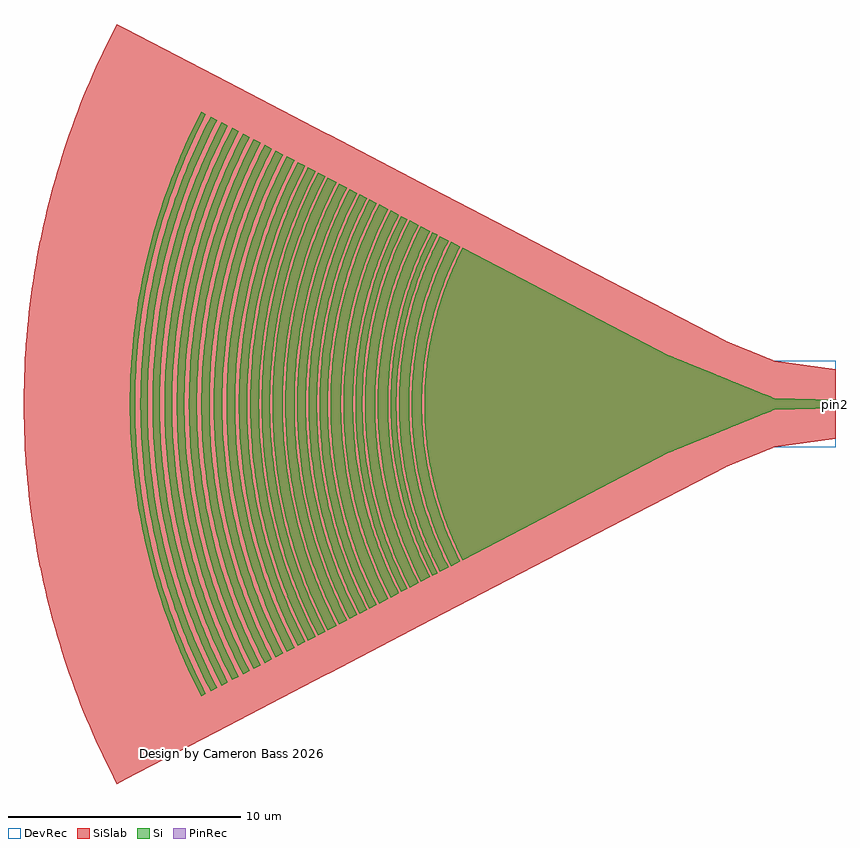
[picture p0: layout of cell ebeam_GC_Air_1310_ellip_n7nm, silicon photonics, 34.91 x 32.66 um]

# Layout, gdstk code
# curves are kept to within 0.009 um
import gdstk
lib = gdstk.Library(unit=1e-6, precision=1e-09)
def P(c, l, *ps):  # polygons
    for p in ps: c.add(gdstk.Polygon(p, *l))
Si = (1, 0)
PinRec = (1, 10)
SiSlab = (2, 0)
DevRec = (68, 0)

ebeam_gc_air_1310_ellip_ = lib.new_cell('ebeam_GC_Air_1310_ellip_n7nm')
P(ebeam_gc_air_1310_ellip_, Si, [(-16.045,-6.707),(-16.404,-5.966),(-16.777,-5.051),(-17.006,-4.382),(-17.271,-3.429),(-17.447,-2.6),(-17.574,-1.762),(-17.652,-0.918),(-17.68,-0.071),(-17.652,0.918),(-17.574,1.762),(-17.447,2.601),(-17.271,3.429),(-17.006,4.382),(-16.777,5.051),(-16.404,5.966),(-16.045,6.707),(-7.154,2.077),(-3.28,0.495),(-2.88,0.344),(-2.695,0.255),(-2.65,0.243),(0,0.175),(0,-0.175),(-2.679,-0.25),(-2.849,-0.331),(-3.188,-0.457),(-7.08,-2.044)],
  [(-16.537,-6.962),(-16.907,-6.196),(-17.243,-5.382),(-17.532,-4.551),(-17.772,-3.704),(-17.963,-2.845),(-18.103,-1.975),(-18.202,-0.954),(-18.232,-0.073),(-18.211,0.807),(-18.121,1.83),(-17.99,2.701),(-17.807,3.561),(-17.575,4.411),(-17.294,5.246),(-17.137,5.656),(-16.907,6.196),(-16.537,6.963),(-16.146,6.759),(-16.507,6.013),(-16.835,5.224),(-17.115,4.417),(-17.348,3.595),(-17.559,2.621),(-17.687,1.776),(-17.774,0.783),(-17.794,0.071),(-17.774,-0.783),(-17.687,-1.776),(-17.559,-2.62),(-17.382,-3.457),(-17.115,-4.417),(-16.835,-5.224),(-16.507,-6.013),(-16.146,-6.759)],
  [(-17.018,-7.213),(-17.401,-6.42),(-17.749,-5.577),(-18.048,-4.716),(-18.297,-3.838),(-18.494,-2.948),(-18.639,-2.047),(-18.732,-1.139),(-18.759,-0.684),(-18.773,-0.076),(-18.751,0.836),(-18.676,1.745),(-18.619,2.198),(-18.522,2.798),(-18.333,3.69),(-18.179,4.279),(-18.048,4.716),(-17.749,5.577),(-17.401,6.42),(-17.018,7.213),(-16.637,7.015),(-17.01,6.243),(-17.35,5.424),(-17.641,4.586),(-17.919,3.589),(-18.102,2.721),(-18.235,1.844),(-18.316,0.96),(-18.346,0.074),(-18.325,-0.812),(-18.235,-1.844),(-18.102,-2.721),(-17.919,-3.589),(-17.685,-4.444),(-17.402,-5.285),(-17.07,-6.108),(-16.637,-7.015)],
  [(-17.338,-7.38),(-17.793,-6.426),(-18.141,-5.561),(-18.392,-4.825),(-18.647,-3.927),(-18.849,-3.016),(-18.93,-2.556),(-19.017,-1.94),(-19.103,-1.011),(-19.134,-0.078),(-19.112,0.856),(-19.017,1.94),(-18.877,2.863),(-18.684,3.776),(-18.438,4.676),(-18.141,5.561),(-17.974,5.996),(-17.73,6.569),(-17.338,7.38),(-17.119,7.265),(-17.566,6.327),(-17.801,5.762),(-17.962,5.331),(-18.111,4.896),(-18.289,4.31),(-18.514,3.42),(-18.686,2.517),(-18.806,1.606),(-18.865,0.842),(-18.887,0.077),(-18.865,-0.842),(-18.806,-1.606),(-18.71,-2.365),(-18.546,-3.269),(-18.408,-3.866),(-18.289,-4.31),(-18.111,-4.896),(-17.962,-5.33),(-17.801,-5.761),(-17.566,-6.327),(-17.119,-7.265)],
  [(-17.834,-7.638),(-18.304,-6.651),(-18.664,-5.756),(-18.972,-4.84),(-19.226,-3.908),(-19.426,-2.963),(-19.57,-2.008),(-19.659,-1.046),(-19.692,-0.08),(-19.668,0.886),(-19.589,1.848),(-19.454,2.805),(-19.333,3.438),(-19.226,3.908),(-18.972,4.84),(-18.664,5.756),(-18.491,6.206),(-18.239,6.799),(-17.834,7.638),(-17.439,7.432),(-17.833,6.616),(-18.193,5.748),(-18.502,4.859),(-18.758,3.956),(-18.99,2.883),(-19.13,1.954),(-19.194,1.331),(-19.226,0.861),(-19.248,0.078),(-19.226,-0.861),(-19.194,-1.331),(-19.13,-1.954),(-18.99,-2.883),(-18.795,-3.803),(-18.548,-4.71),(-18.248,-5.6),(-17.897,-6.473),(-17.439,-7.432)],
  [(-18.314,-7.888),(-18.733,-7.02),(-18.993,-6.408),(-19.171,-5.944),(-19.49,-4.998),(-19.752,-4.035),(-19.958,-3.06),(-20.108,-2.073),(-20.199,-1.081),(-20.233,-0.083),(-20.209,0.915),(-20.127,1.908),(-19.987,2.896),(-19.791,3.874),(-19.628,4.519),(-19.49,4.998),(-19.171,5.944),(-18.993,6.408),(-18.733,7.021),(-18.314,7.888),(-17.936,7.691),(-18.344,6.846),(-18.716,5.948),(-18.935,5.337),(-19.083,4.874),(-19.339,3.936),(-19.54,2.983),(-19.685,2.022),(-19.775,1.053),(-19.808,0.081),(-19.784,-0.891),(-19.704,-1.861),(-19.568,-2.824),(-19.479,-3.302),(-19.339,-3.935),(-19.083,-4.873),(-18.773,-5.795),(-18.344,-6.846),(-17.936,-7.691)],
  [(-18.676,-8.076),(-18.963,-7.496),(-19.174,-7.031),(-19.554,-6.085),(-19.88,-5.117),(-20.149,-4.131),(-20.36,-3.133),(-20.513,-2.122),(-20.607,-1.106),(-20.641,-0.085),(-20.617,0.936),(-20.533,1.954),(-20.39,2.965),(-20.262,3.634),(-20.149,4.131),(-19.88,5.117),(-19.554,6.085),(-19.174,7.032),(-18.963,7.497),(-18.676,8.076),(-18.415,7.941),(-18.697,7.372),(-18.904,6.915),(-19.161,6.297),(-19.337,5.826),(-19.5,5.351),(-19.694,4.711),(-19.824,4.226),(-19.975,3.573),(-20.154,2.585),(-20.259,1.755),(-20.324,0.92),(-20.348,0.084),(-20.324,-0.92),(-20.259,-1.755),(-20.154,-2.585),(-20.009,-3.409),(-19.903,-3.9),(-19.739,-4.549),(-19.551,-5.191),(-19.393,-5.668),(-19.161,-6.296),(-18.971,-6.761),(-18.697,-7.372),(-18.415,-7.94)],
  [(-19.134,-8.315),(-19.576,-7.4),(-19.851,-6.754),(-20.039,-6.265),(-20.374,-5.268),(-20.651,-4.253),(-20.868,-3.225),(-21.026,-2.185),(-21.122,-1.139),(-21.158,-0.088),(-21.148,0.614),(-21.122,1.139),(-21.026,2.185),(-20.868,3.225),(-20.651,4.253),(-20.374,5.268),(-20.039,6.265),(-19.647,7.24),(-19.43,7.718),(-19.134,8.315),(-18.778,8.129),(-19.21,7.235),(-19.478,6.604),(-19.663,6.124),(-19.991,5.15),(-20.262,4.159),(-20.474,3.153),(-20.628,2.137),(-20.722,1.113),(-20.757,0.086),(-20.732,-0.942),(-20.648,-1.967),(-20.504,-2.984),(-20.41,-3.489),(-20.262,-4.159),(-19.991,-5.15),(-19.663,-6.124),(-19.279,-7.078),(-19.067,-7.546),(-18.778,-8.129)],
  [(-19.633,-8.575),(-20.087,-7.633),(-20.501,-6.631),(-20.856,-5.607),(-21.152,-4.563),(-21.386,-3.505),(-21.559,-2.434),(-21.669,-1.354),(-21.7,-0.814),(-21.718,-0.09),(-21.692,0.994),(-21.602,2.075),(-21.451,3.149),(-21.315,3.859),(-21.195,4.388),(-20.91,5.434),(-20.686,6.122),(-20.501,6.631),(-20.087,7.633),(-19.633,8.575),(-19.236,8.368),(-19.68,7.447),(-20.086,6.469),(-20.266,5.972),(-20.485,5.302),(-20.721,4.452),(-20.949,3.419),(-21.118,2.375),(-21.196,1.674),(-21.237,1.145),(-21.273,0.088),(-21.268,-0.441),(-21.237,-1.145),(-21.14,-2.199),(-20.982,-3.245),(-20.763,-4.281),(-20.485,-5.301),(-20.266,-5.972),(-20.086,-6.469),(-19.68,-7.447),(-19.236,-8.368)],
  [(-20.048,-8.791),(-20.515,-7.823),(-20.939,-6.796),(-21.304,-5.746),(-21.607,-4.676),(-21.847,-3.592),(-22.024,-2.494),(-22.137,-1.388),(-22.169,-0.834),(-22.187,-0.093),(-22.16,1.019),(-22.069,2.126),(-21.999,2.678),(-21.881,3.41),(-21.651,4.497),(-21.358,5.569),(-21.004,6.623),(-20.59,7.654),(-20.36,8.16),(-20.048,8.791),(-19.738,8.629),(-19.965,8.175),(-20.269,7.515),(-20.548,6.843),(-20.739,6.331),(-20.971,5.642),(-21.176,4.944),(-21.353,4.239),(-21.469,3.704),(-21.626,2.809),(-21.74,1.907),(-21.811,1),(-21.837,0.091),(-21.827,-0.636),(-21.758,-1.726),(-21.653,-2.629),(-21.469,-3.704),(-21.353,-4.238),(-21.176,-4.944),(-20.971,-5.641),(-20.739,-6.331),(-20.548,-6.842),(-20.269,-7.514),(-19.965,-8.175),(-19.738,-8.629)],
  [(-20.468,-9.01),(-20.948,-8.016),(-21.174,-7.493),(-21.383,-6.963),(-21.756,-5.888),(-22.067,-4.792),(-22.238,-4.053),(-22.348,-3.494),(-22.518,-2.367),(-22.623,-1.234),(-22.662,-0.095),(-22.634,1.044),(-22.54,2.179),(-22.381,3.307),(-22.277,3.867),(-22.112,4.608),(-21.92,5.342),(-21.756,5.888),(-21.383,6.963),(-21.174,7.493),(-20.948,8.016),(-20.468,9.01),(-20.15,8.844),(-20.464,8.209),(-20.769,7.529),(-20.981,7.011),(-21.239,6.311),(-21.414,5.781),(-21.624,5.066),(-21.807,4.343),(-21.925,3.796),(-22.086,2.878),(-22.203,1.954),(-22.275,1.024),(-22.302,0.093),(-22.284,-0.838),(-22.221,-1.769),(-22.113,-2.694),(-21.925,-3.796),(-21.807,-4.343),(-21.624,-5.066),(-21.414,-5.781),(-21.239,-6.311),(-20.981,-7.011),(-20.769,-7.529),(-20.464,-8.209),(-20.15,-8.844)],
  [(-20.903,-9.236),(-21.396,-8.214),(-21.627,-7.678),(-21.841,-7.136),(-22.041,-6.588),(-22.224,-6.034),(-22.543,-4.911),(-22.718,-4.153),(-22.831,-3.58),(-23.006,-2.426),(-23.113,-1.264),(-23.152,-0.097),(-23.147,0.487),(-23.113,1.264),(-23.006,2.426),(-22.831,3.581),(-22.589,4.722),(-22.282,5.848),(-21.91,6.955),(-21.475,8.037),(-21.233,8.568),(-20.903,9.236),(-20.574,9.064),(-20.898,8.41),(-21.21,7.713),(-21.427,7.183),(-21.692,6.466),(-21.872,5.922),(-22.087,5.19),(-22.23,4.635),(-22.395,3.889),(-22.56,2.949),(-22.68,2.002),(-22.754,1.05),(-22.782,0.096),(-22.763,-0.859),(-22.699,-1.812),(-22.588,-2.76),(-22.395,-3.889),(-22.23,-4.635),(-22.087,-5.19),(-21.872,-5.922),(-21.692,-6.466),(-21.427,-7.183),(-21.21,-7.713),(-20.898,-8.41),(-20.574,-9.064)],
  [(-21.354,-9.471),(-21.693,-8.787),(-21.94,-8.241),(-22.172,-7.689),(-22.386,-7.132),(-22.768,-5.997),(-23.083,-4.842),(-23.331,-3.672),(-23.51,-2.488),(-23.62,-1.296),(-23.66,-0.1),(-23.655,0.499),(-23.62,1.297),(-23.51,2.488),(-23.331,3.672),(-23.083,4.842),(-22.768,5.997),(-22.386,7.132),(-22.172,7.69),(-21.94,8.242),(-21.693,8.787),(-21.354,9.471),(-21.004,9.288),(-21.252,8.794),(-21.579,8.083),(-21.879,7.36),(-22.085,6.81),(-22.335,6.068),(-22.503,5.506),(-22.701,4.749),(-22.871,3.985),(-23.04,3.022),(-23.163,2.051),(-23.239,1.075),(-23.267,0.098),(-23.248,-0.88),(-23.182,-1.857),(-23.069,-2.828),(-22.871,-3.984),(-22.701,-4.749),(-22.503,-5.506),(-22.335,-6.068),(-22.085,-6.81),(-21.879,-7.36),(-21.579,-8.083),(-21.336,-8.617),(-21.004,-9.288)],
  [(-21.842,-9.724),(-22.1,-9.209),(-22.442,-8.464),(-22.68,-7.897),(-22.9,-7.324),(-23.105,-6.745),(-23.292,-6.159),(-23.463,-5.568),(-23.616,-4.973),(-23.752,-4.373),(-23.87,-3.771),(-23.971,-3.164),(-24.054,-2.555),(-24.167,-1.331),(-24.197,-0.717),(-24.208,-0.102),(-24.179,1.127),(-24.078,2.352),(-23.971,3.164),(-23.87,3.771),(-23.752,4.374),(-23.616,4.973),(-23.463,5.569),(-23.292,6.159),(-23.105,6.745),(-22.9,7.325),(-22.68,7.897),(-22.442,8.464),(-22.1,9.209),(-21.842,9.725),(-21.455,9.523),(-21.963,8.471),(-22.424,7.36),(-22.819,6.222),(-23.147,5.065),(-23.286,4.479),(-23.407,3.889),(-23.599,2.701),(-23.721,1.504),(-23.756,0.902),(-23.775,0.1),(-23.746,-1.103),(-23.688,-1.904),(-23.624,-2.502),(-23.444,-3.692),(-23.195,-4.87),(-22.878,-6.031),(-22.495,-7.171),(-22.278,-7.733),(-22.044,-8.288),(-21.796,-8.836),(-21.455,-9.523)],
  [(-22.256,-9.94),(-22.52,-9.412),(-22.87,-8.651),(-23.113,-8.071),(-23.338,-7.486),(-23.739,-6.295),(-24.07,-5.083),(-24.329,-3.854),(-24.432,-3.234),(-24.517,-2.611),(-24.633,-1.361),(-24.675,-0.105),(-24.669,0.524),(-24.645,1.152),(-24.542,2.403),(-24.463,3.027),(-24.366,3.648),(-24.251,4.266),(-24.07,5.083),(-23.739,6.295),(-23.547,6.894),(-23.338,7.486),(-23.113,8.072),(-22.87,8.651),(-22.52,9.412),(-22.256,9.94),(-21.943,9.777),(-22.291,9.073),(-22.546,8.511),(-22.862,7.75),(-23.079,7.17),(-23.279,6.586),(-23.518,5.798),(-23.678,5.201),(-23.864,4.397),(-23.983,3.791),(-24.084,3.181),(-24.213,2.16),(-24.293,1.132),(-24.323,0.103),(-24.317,-0.515),(-24.293,-1.132),(-24.213,-2.16),(-24.084,-3.181),(-23.983,-3.791),(-23.864,-4.397),(-23.678,-5.201),(-23.518,-5.797),(-23.279,-6.585),(-23.079,-7.17),(-22.862,-7.749),(-22.546,-8.51),(-22.291,-9.073),(-21.943,-9.777)],
  [(-22.69,-10.166),(-22.962,-9.624),(-23.32,-8.845),(-23.569,-8.253),(-23.799,-7.654),(-24.208,-6.437),(-24.387,-5.819),(-24.547,-5.197),(-24.689,-4.571),(-24.812,-3.941),(-24.918,-3.307),(-25.005,-2.67),(-25.073,-2.031),(-25.123,-1.391),(-25.154,-0.75),(-25.166,-0.107),(-25.16,0.536),(-25.135,1.178),(-25.092,1.818),(-25.03,2.457),(-24.949,3.095),(-24.85,3.73),(-24.689,4.571),(-24.547,5.197),(-24.387,5.819),(-24.208,6.437),(-24.012,7.049),(-23.799,7.655),(-23.569,8.253),(-23.32,8.846),(-22.962,9.624),(-22.69,10.166),(-22.36,9.994),(-22.717,9.273),(-22.978,8.698),(-23.301,7.92),(-23.522,7.328),(-23.791,6.53),(-23.971,5.925),(-24.135,5.315),(-24.325,4.494),(-24.517,3.46),(-24.66,2.417),(-24.751,1.367),(-24.782,0.737),(-24.794,0.105),(-24.774,-0.947),(-24.682,-2.207),(-24.55,-3.251),(-24.325,-4.494),(-24.135,-5.315),(-23.971,-5.925),(-23.791,-6.53),(-23.522,-7.328),(-23.301,-7.92),(-22.978,-8.698),(-22.717,-9.273),(-22.36,-9.994)],
  [(-23.122,-10.391),(-23.403,-9.831),(-23.68,-9.236),(-23.94,-8.633),(-24.182,-8.023),(-24.406,-7.407),(-24.613,-6.784),(-24.801,-6.155),(-24.971,-5.521),(-25.122,-4.883),(-25.255,-4.241),(-25.369,-3.594),(-25.464,-2.945),(-25.54,-2.293),(-25.612,-1.421),(-25.644,-0.766),(-25.656,-0.109),(-25.65,0.547),(-25.625,1.203),(-25.58,1.857),(-25.517,2.51),(-25.434,3.162),(-25.295,4.026),(-25.168,4.67),(-25.023,5.309),(-24.859,5.945),(-24.677,6.575),(-24.477,7.201),(-24.259,7.82),(-24.023,8.431),(-23.769,9.036),(-23.498,9.634),(-23.122,10.391),(-22.808,10.228),(-23.175,9.485),(-23.528,8.7),(-23.773,8.102),(-23.999,7.496),(-24.274,6.68),(-24.459,6.061),(-24.678,5.228),(-24.821,4.597),(-25.018,3.539),(-25.111,2.9),(-25.186,2.258),(-25.269,1.184),(-25.301,0.108),(-25.28,-0.969),(-25.186,-2.258),(-25.018,-3.539),(-24.821,-4.597),(-24.678,-5.228),(-24.459,-6.061),(-24.274,-6.68),(-23.999,-7.496),(-23.773,-8.102),(-23.442,-8.897),(-23.175,-9.485),(-22.808,-10.227)],
  [(-23.591,-10.636),(-23.882,-10.056),(-24.166,-9.448),(-24.432,-8.831),(-24.679,-8.207),(-24.909,-7.577),(-25.12,-6.94),(-25.313,-6.296),(-25.487,-5.648),(-25.642,-4.994),(-25.777,-4.338),(-25.929,-3.455),(-26.02,-2.79),(-26.091,-2.122),(-26.143,-1.454),(-26.176,-0.783),(-26.189,-0.112),(-26.182,0.56),(-26.156,1.231),(-26.111,1.9),(-26.046,2.568),(-25.961,3.234),(-25.857,3.898),(-25.689,4.777),(-25.54,5.431),(-25.373,6.081),(-25.186,6.726),(-24.981,7.366),(-24.758,7.999),(-24.517,8.624),(-24.257,9.243),(-23.979,9.855),(-23.591,10.636),(-23.266,10.466),(-23.645,9.701),(-23.918,9.1),(-24.256,8.286),(-24.488,7.667),(-24.702,7.042),(-24.959,6.199),(-25.183,5.347),(-25.329,4.702),(-25.531,3.619),(-25.68,2.528),(-25.743,1.871),(-25.788,1.211),(-25.82,0.11),(-25.799,-0.991),(-25.761,-1.651),(-25.703,-2.309),(-25.565,-3.402),(-25.456,-4.053),(-25.329,-4.702),(-25.183,-5.347),(-24.959,-6.199),(-24.702,-7.041),(-24.488,-7.666),(-24.256,-8.286),(-23.918,-9.1),(-23.645,-9.701),(-23.266,-10.466)],
  [(-24.074,-10.887),(-24.474,-10.081),(-24.758,-9.456),(-25.024,-8.822),(-25.271,-8.183),(-25.5,-7.535),(-25.71,-6.881),(-25.901,-6.221),(-26.072,-5.556),(-26.224,-4.887),(-26.357,-4.213),(-26.47,-3.535),(-26.563,-2.854),(-26.636,-2.171),(-26.689,-1.487),(-26.723,-0.801),(-26.736,-0.114),(-26.729,0.573),(-26.703,1.259),(-26.656,1.943),(-26.563,2.855),(-26.47,3.535),(-26.357,4.213),(-26.224,4.887),(-26.072,5.556),(-25.901,6.221),(-25.71,6.881),(-25.5,7.535),(-25.271,8.183),(-24.938,9.035),(-24.758,9.456),(-24.474,10.081),(-24.074,10.887),(-23.754,10.72),(-24.048,10.134),(-24.334,9.521),(-24.602,8.9),(-24.932,8.06),(-25.157,7.422),(-25.429,6.562),(-25.61,5.911),(-25.823,5.034),(-25.959,4.371),(-26.077,3.705),(-26.23,2.588),(-26.328,1.464),(-26.361,0.789),(-26.374,0.113),(-26.352,-1.014),(-26.254,-2.364),(-26.112,-3.482),(-26.001,-4.149),(-25.87,-4.813),(-25.721,-5.473),(-25.491,-6.345),(-25.297,-6.993),(-25.009,-7.848),(-24.772,-8.482),(-24.425,-9.315),(-24.048,-10.134),(-23.754,-10.72)],
  [(-24.544,-11.132),(-24.854,-10.516),(-25.246,-9.665),(-25.518,-9.018),(-25.77,-8.364),(-26.004,-7.702),(-26.219,-7.033),(-26.414,-6.359),(-26.59,-5.679),(-26.745,-4.995),(-26.881,-4.306),(-26.996,-3.613),(-27.091,-2.918),(-27.166,-2.219),(-27.221,-1.52),(-27.255,-0.819),(-27.268,-0.117),(-27.255,0.819),(-27.221,1.521),(-27.166,2.22),(-27.091,2.918),(-26.996,3.613),(-26.881,4.306),(-26.745,4.995),(-26.59,5.679),(-26.414,6.359),(-26.15,7.257),(-25.929,7.923),(-25.688,8.583),(-25.43,9.235),(-25.151,9.879),(-24.854,10.516),(-24.544,11.132),(-24.235,10.971),(-24.639,10.158),(-24.926,9.528),(-25.28,8.676),(-25.523,8.027),(-25.818,7.153),(-26.016,6.491),(-26.196,5.822),(-26.404,4.923),(-26.616,3.79),(-26.772,2.647),(-26.873,1.498),(-26.906,0.807),(-26.919,0.115),(-26.913,-0.576),(-26.886,-1.268),(-26.796,-2.418),(-26.716,-3.105),(-26.616,-3.79),(-26.404,-4.923),(-26.196,-5.822),(-26.016,-6.49),(-25.818,-7.153),(-25.523,-8.027),(-25.28,-8.676),(-24.926,-9.528),(-24.639,-10.158),(-24.235,-10.971)],
  [(-25.017,-11.378),(-25.335,-10.746),(-25.639,-10.096),(-25.923,-9.437),(-26.188,-8.77),(-26.433,-8.097),(-26.659,-7.416),(-26.866,-6.728),(-27.052,-6.035),(-27.217,-5.337),(-27.363,-4.635),(-27.487,-3.929),(-27.592,-3.219),(-27.675,-2.506),(-27.738,-1.791),(-27.789,-0.837),(-27.803,-0.12),(-27.796,0.598),(-27.768,1.315),(-27.719,2.03),(-27.65,2.744),(-27.559,3.456),(-27.407,4.4),(-27.268,5.105),(-27.109,5.803),(-26.93,6.498),(-26.73,7.188),(-26.511,7.871),(-26.272,8.547),(-26.014,9.216),(-25.639,10.096),(-25.335,10.746),(-25.017,11.378),(-24.715,11.221),(-25.13,10.386),(-25.423,9.742),(-25.785,8.871),(-26.034,8.208),(-26.263,7.539),(-26.473,6.863),(-26.663,6.182),(-26.885,5.265),(-27.113,4.108),(-27.222,3.409),(-27.311,2.707),(-27.38,2.003),(-27.428,1.296),(-27.462,0.118),(-27.455,-0.589),(-27.428,-1.296),(-27.336,-2.472),(-27.188,-3.642),(-27.072,-4.34),(-26.935,-5.034),(-26.722,-5.953),(-26.538,-6.636),(-26.263,-7.539),(-26.034,-8.208),(-25.698,-9.09),(-25.423,-9.742),(-25.028,-10.599),(-24.715,-11.22)],
  [(-25.479,-11.618),(-25.804,-10.972),(-26.114,-10.308),(-26.404,-9.635),(-26.674,-8.954),(-26.925,-8.267),(-27.156,-7.572),(-27.367,-6.87),(-27.557,-6.162),(-27.778,-5.212),(-27.919,-4.493),(-28.04,-3.77),(-28.139,-3.044),(-28.217,-2.316),(-28.274,-1.586),(-28.309,-0.855),(-28.324,-0.122),(-28.309,0.855),(-28.274,1.586),(-28.217,2.316),(-28.139,3.044),(-28.04,3.77),(-27.919,4.493),(-27.778,5.212),(-27.615,5.925),(-27.432,6.635),(-27.229,7.338),(-27.005,8.036),(-26.76,8.727),(-26.497,9.409),(-26.213,10.085),(-25.804,10.972),(-25.479,11.618),(-25.189,11.467),(-25.614,10.613),(-25.913,9.955),(-26.284,9.065),(-26.538,8.387),(-26.846,7.474),(-27.053,6.782),(-27.241,6.083),(-27.408,5.38),(-27.554,4.671),(-27.68,3.96),(-27.843,2.766),(-27.913,2.047),(-27.962,1.325),(-27.997,0.121),(-27.974,-1.084),(-27.932,-1.806),(-27.869,-2.526),(-27.785,-3.244),(-27.68,-3.959),(-27.459,-5.143),(-27.299,-5.849),(-27.053,-6.781),(-26.846,-7.474),(-26.538,-8.387),(-26.284,-9.065),(-25.913,-9.955),(-25.614,-10.613),(-25.189,-11.467)],
  [(-25.944,-11.86),(-26.276,-11.2),(-26.593,-10.522),(-26.889,-9.836),(-27.165,-9.141),(-27.421,-8.439),(-27.657,-7.729),(-27.872,-7.013),(-28.066,-6.29),(-28.291,-5.32),(-28.436,-4.586),(-28.558,-3.848),(-28.66,-3.107),(-28.74,-2.364),(-28.798,-1.619),(-28.834,-0.872),(-28.848,-0.125),(-28.834,0.872),(-28.798,1.619),(-28.74,2.364),(-28.66,3.108),(-28.558,3.849),(-28.436,4.586),(-28.291,5.32),(-28.125,6.048),(-27.939,6.773),(-27.731,7.491),(-27.502,8.203),(-27.253,8.908),(-26.984,9.605),(-26.593,10.522),(-26.276,11.2),(-25.944,11.861),(-25.659,11.712),(-25.987,11.061),(-26.399,10.167),(-26.685,9.486),(-26.953,8.797),(-27.199,8.101),(-27.495,7.162),(-27.755,6.213),(-27.925,5.494),(-28.163,4.286),(-28.277,3.557),(-28.37,2.825),(-28.442,2.09),(-28.492,1.353),(-28.528,0.123),(-28.52,-0.615),(-28.492,-1.353),(-28.396,-2.58),(-28.241,-3.8),(-28.12,-4.528),(-27.978,-5.253),(-27.814,-5.974),(-27.564,-6.925),(-27.276,-7.867),(-27.037,-8.565),(-26.686,-9.486),(-26.399,-10.166),(-25.987,-11.06),(-25.659,-11.712)],
  [(-26.403,-12.099),(-26.742,-11.425),(-27.065,-10.734),(-27.367,-10.033),(-27.648,-9.324),(-27.91,-8.608),(-28.15,-7.884),(-28.369,-7.153),(-28.567,-6.417),(-28.743,-5.674),(-28.898,-4.928),(-29.031,-4.177),(-29.141,-3.422),(-29.23,-2.664),(-29.297,-1.904),(-29.351,-0.89),(-29.366,-0.127),(-29.358,0.636),(-29.329,1.398),(-29.277,2.158),(-29.203,2.918),(-29.107,3.674),(-28.945,4.678),(-28.797,5.427),(-28.628,6.17),(-28.438,6.909),(-28.226,7.642),(-27.992,8.368),(-27.738,9.087),(-27.464,9.798),(-27.065,10.734),(-26.742,11.425),(-26.403,12.099),(-26.128,11.956),(-26.463,11.291),(-26.782,10.608),(-27.081,9.916),(-27.449,8.98),(-27.7,8.269),(-28.003,7.311),(-28.268,6.342),(-28.442,5.609),(-28.595,4.87),(-28.726,4.128),(-28.896,2.884),(-29.006,1.632),(-29.042,0.879),(-29.057,0.126),(-29.049,-0.628),(-29.02,-1.381),(-28.923,-2.634),(-28.835,-3.382),(-28.726,-4.128),(-28.595,-4.87),(-28.442,-5.609),(-28.268,-6.342),(-28.003,-7.311),(-27.7,-8.269),(-27.449,-8.979),(-27.177,-9.683),(-26.782,-10.608),(-26.463,-11.29),(-26.128,-11.956)],
  [(-26.873,-12.344),(-27.324,-11.436),(-27.646,-10.727),(-27.948,-10.008),(-28.228,-9.282),(-28.487,-8.548),(-28.725,-7.806),(-28.941,-7.057),(-29.136,-6.302),(-29.308,-5.543),(-29.458,-4.779),(-29.586,-4.01),(-29.692,-3.238),(-29.774,-2.463),(-29.835,-1.687),(-29.873,-0.909),(-29.888,-0.13),(-29.873,0.909),(-29.835,1.687),(-29.774,2.463),(-29.692,3.238),(-29.586,4.01),(-29.458,4.779),(-29.308,5.544),(-29.136,6.302),(-28.941,7.057),(-28.725,7.806),(-28.487,8.548),(-28.228,9.283),(-27.85,10.249),(-27.646,10.727),(-27.324,11.436),(-26.873,12.345),(-26.595,12.2),(-27.048,11.289),(-27.367,10.589),(-27.761,9.642),(-28.031,8.921),(-28.28,8.194),(-28.508,7.459),(-28.715,6.719),(-28.956,5.723),(-29.204,4.464),(-29.323,3.705),(-29.42,2.942),(-29.494,2.177),(-29.546,1.409),(-29.584,0.128),(-29.559,-1.153),(-29.514,-1.921),(-29.447,-2.687),(-29.286,-3.958),(-29.159,-4.717),(-29.011,-5.471),(-28.779,-6.47),(-28.579,-7.213),(-28.359,-7.95),(-28.031,-8.921),(-27.761,-9.642),(-27.367,-10.589),(-27.048,-11.289),(-26.595,-12.199)],
  [(-27.271,-12.552),(-27.623,-11.85),(-27.958,-11.133),(-28.271,-10.407),(-28.562,-9.671),(-28.819,-8.97),(-29.082,-8.178),(-29.309,-7.42),(-29.514,-6.656),(-29.696,-5.886),(-29.856,-5.112),(-29.994,-4.332),(-30.109,-3.55),(-30.226,-2.501),(-30.282,-1.794),(-30.326,-0.923),(-30.341,-0.132),(-30.333,0.659),(-30.303,1.45),(-30.249,2.239),(-30.142,3.288),(-30.035,4.072),(-29.905,4.853),(-29.752,5.629),(-29.577,6.4),(-29.38,7.166),(-29.16,7.926),(-28.919,8.68),(-28.655,9.426),(-28.371,10.163),(-27.958,11.134),(-27.623,11.851),(-27.271,12.552),(-27.074,12.449),(-27.415,11.769),(-27.747,11.058),(-28.157,10.094),(-28.441,9.36),(-28.703,8.62),(-28.943,7.872),(-29.229,6.864),(-29.417,6.102),(-29.682,4.819),(-29.811,4.044),(-29.917,3.266),(-30.001,2.485),(-30.062,1.701),(-30.1,0.916),(-30.115,0.131),(-30.09,-1.178),(-30.044,-1.962),(-29.975,-2.745),(-29.884,-3.525),(-29.77,-4.303),(-29.634,-5.076),(-29.475,-5.846),(-29.294,-6.611),(-29.091,-7.369),(-28.865,-8.122),(-28.531,-9.114),(-28.255,-9.851),(-27.853,-10.818),(-27.528,-11.533),(-27.074,-12.449)])
P(ebeam_gc_air_1310_ellip_, SiSlab, [(-30.904,-16.329),(-31.366,-15.41),(-31.801,-14.477),(-32.208,-13.533),(-32.588,-12.577),(-32.94,-11.61),(-33.264,-10.634),(-33.559,-9.648),(-33.825,-8.655),(-34.062,-7.654),(-34.27,-6.647),(-34.449,-5.634),(-34.598,-4.616),(-34.717,-3.594),(-34.807,-2.569),(-34.867,-1.543),(-34.9,-0.171),(-34.89,0.857),(-34.85,1.885),(-34.781,2.912),(-34.681,3.935),(-34.552,4.956),(-34.393,5.972),(-34.135,7.319),(-33.907,8.322),(-33.651,9.318),(-33.365,10.307),(-33.051,11.286),(-32.709,12.256),(-32.338,13.216),(-31.94,14.164),(-31.366,15.41),(-30.904,16.329),(-4.744,2.708),(-2.65,1.855),(0,1.5),(0,-1.5),(-2.65,-1.855),(-4.728,-2.7)])
P(ebeam_gc_air_1310_ellip_, DevRec, [(-30.904,-16.329),(-31.366,-15.41),(-31.801,-14.477),(-32.208,-13.533),(-32.588,-12.577),(-32.94,-11.61),(-33.264,-10.634),(-33.559,-9.648),(-33.825,-8.655),(-34.062,-7.654),(-34.27,-6.647),(-34.449,-5.634),(-34.598,-4.616),(-34.717,-3.594),(-34.807,-2.569),(-34.867,-1.543),(-34.9,-0.171),(-34.89,0.857),(-34.85,1.885),(-34.781,2.912),(-34.681,3.935),(-34.552,4.956),(-34.393,5.972),(-34.135,7.319),(-33.907,8.322),(-33.651,9.318),(-33.365,10.307),(-33.051,11.286),(-32.709,12.256),(-32.338,13.216),(-31.94,14.164),(-31.366,15.41),(-30.904,16.329),(-4.744,2.708),(-2.65,1.855),(0,1.855),(0,-1.855),(-2.65,-1.855),(-4.728,-2.7)])
ebeam_gc_air_1310_ellip_.add(gdstk.FlexPath([(-0.01,0),(0.01,0)], 0.35, ends="flush", simple_path=True, layer=1, datatype=10))  # PinRec
ebeam_gc_air_1310_ellip_.add(gdstk.Label('pin2', (0,0), layer=1, texttype=10))
ebeam_gc_air_1310_ellip_.add(gdstk.Label('Design by Cameron Bass 2026', (-25.94,-15.02), layer=10, texttype=0))

lib.write_gds('ebeam_GC_Air_1310_ellip_n7nm.gds')
